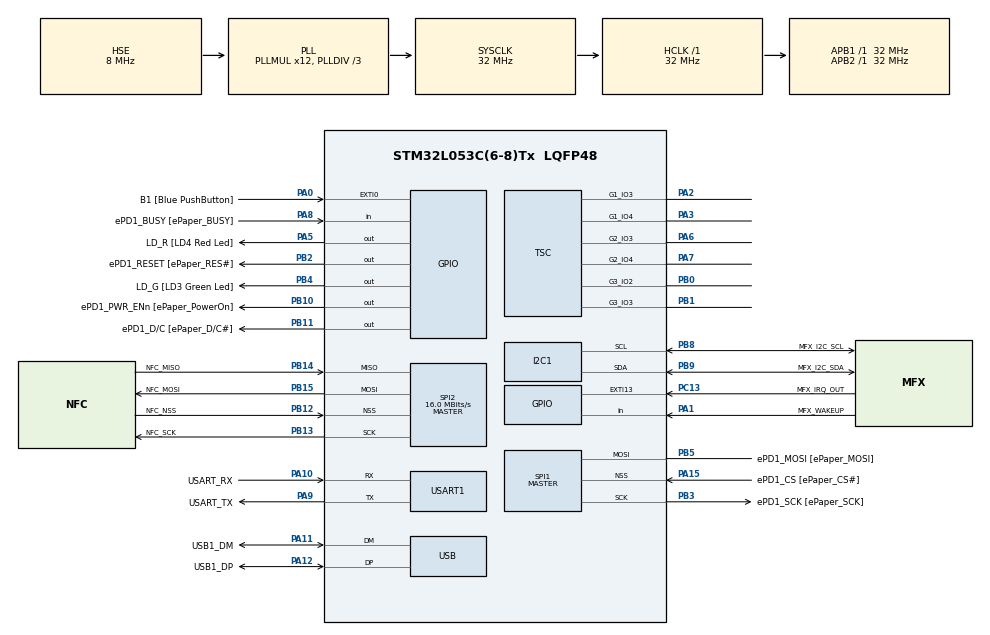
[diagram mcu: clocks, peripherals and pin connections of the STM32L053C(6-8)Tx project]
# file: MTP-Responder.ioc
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I2C1.Timing=0x00B07CB4
Mcu.Family=STM32L0
Mcu.Name=STM32L053C(6-8)Tx
Mcu.Package=LQFP48
NVIC.USB_IRQn=true\:0\:0\:false\:false\:true\:false\:true\:true
PA0.GPIO_Label=B1 [Blue PushButton]
PA0.GPIO_ModeDefaultEXTI=GPIO_MODE_EVT_RISING
PA0.GPIO_PuPd=GPIO_NOPULL
PA0.Signal=GPXTI0
PA1.GPIO_Label=MFX_WAKEUP
PA1.Signal=GPIO_Input
PA10.GPIO_Label=USART_RX
PA10.Mode=Asynchronous
PA10.Signal=USART1_RX
PA11.GPIO_Label=USB1_DM
PA11.Mode=Device
PA11.Signal=USB_DM
PA12.GPIO_Label=USB1_DP
PA12.Mode=Device
PA12.Signal=USB_DP
PA13.GPIO_Label=SWDIO
PA13.Mode=Serial_Wire
PA13.Signal=SYS_SWDIO
PA14.GPIO_Label=SWCLK
PA14.Mode=Serial_Wire
PA14.Signal=SYS_SWCLK
PA15.GPIO_Label=ePD1_CS [ePaper_CS\#]
PA15.GPIO_Mode=GPIO_MODE_AF_PP
PA15.GPIO_PuPd=GPIO_NOPULL
PA15.GPIO_Speed=GPIO_SPEED_FREQ_LOW
PA15.Mode=NSS_Signal_Hard_Input
PA15.Signal=SPI1_NSS
PA2.Mode=G1_IO3-Channel
PA2.Signal=TSC_G1_IO3
PA3.Mode=G1_IO4-Sampling
PA3.Signal=TSC_G1_IO4
PA5.GPIO_Label=LD_R [LD4 Red Led]
PA5.GPIO_ModeDefaultOutputPP=GPIO_MODE_OUTPUT_PP
PA5.GPIO_PuPd=GPIO_NOPULL
PA5.GPIO_Speed=GPIO_SPEED_FREQ_LOW
PA5.Signal=GPIO_Output
PA6.Mode=G2_IO3-Channel
PA6.Signal=TSC_G2_IO3
PA7.Mode=G2_IO4-Sampling
PA7.Signal=TSC_G2_IO4
PA8.GPIO_Label=ePD1_BUSY [ePaper_BUSY]
PA8.GPIO_Mode=GPIO_MODE_INPUT
PA8.GPIO_PuPd=GPIO_NOPULL
PA8.Signal=GPIO_Input
PA9.GPIO_Label=USART_TX
PA9.Mode=Asynchronous
PA9.Signal=USART1_TX
PB0.Mode=G3_IO2-Channel
PB0.Signal=TSC_G3_IO2
PB1.Mode=G3_IO3-Sampling
PB1.Signal=TSC_G3_IO3
PB10.GPIO_Label=ePD1_PWR_ENn [ePaper_PowerOn]
PB10.GPIO_ModeDefaultOutputPP=GPIO_MODE_OUTPUT_PP
PB10.GPIO_PuPd=GPIO_NOPULL
PB10.GPIO_Speed=GPIO_SPEED_FREQ_LOW
PB10.Signal=GPIO_Output
PB11.GPIO_Label=ePD1_D/C [ePaper_D/C\#]
PB11.GPIO_ModeDefaultOutputPP=GPIO_MODE_OUTPUT_PP
PB11.GPIO_PuPd=GPIO_NOPULL
PB11.GPIO_Speed=GPIO_SPEED_FREQ_LOW
PB11.Signal=GPIO_Output
PB12.GPIO_Label=NFC_NSS
PB12.Mode=NSS_Signal_Hard_Input
PB12.Signal=SPI2_NSS
PB13.GPIO_Label=NFC_SCK
PB13.Mode=Full_Duplex_Master
PB13.Signal=SPI2_SCK
PB14.GPIO_Label=NFC_MISO
PB14.Mode=Full_Duplex_Master
PB14.Signal=SPI2_MISO
PB15.GPIO_Label=NFC_MOSI
PB15.Mode=Full_Duplex_Master
PB15.Signal=SPI2_MOSI
PB2.GPIO_Label=ePD1_RESET [ePaper_RES\#]
PB2.GPIO_ModeDefaultOutputPP=GPIO_MODE_OUTPUT_PP
PB2.GPIO_PuPd=GPIO_NOPULL
PB2.GPIO_Speed=GPIO_SPEED_FREQ_LOW
PB2.Signal=GPIO_Output
PB3.GPIO_Label=ePD1_SCK [ePaper_SCK]
PB3.GPIO_Mode=GPIO_MODE_AF_PP
PB3.GPIO_PuPd=GPIO_NOPULL
PB3.GPIO_Speed=GPIO_SPEED_FREQ_LOW
PB3.Mode=Simplex_Bidirectional_Master
PB3.Signal=SPI1_SCK
PB4.GPIO_Label=LD_G [LD3 Green Led]
PB4.GPIO_ModeDefaultOutputPP=GPIO_MODE_OUTPUT_PP
PB4.GPIO_PuPd=GPIO_NOPULL
PB4.GPIO_Speed=GPIO_SPEED_FREQ_LOW
PB4.Signal=GPIO_Output
PB5.GPIO_Label=ePD1_MOSI [ePaper_MOSI]
PB5.GPIO_Mode=GPIO_MODE_AF_PP
PB5.GPIO_PuPd=GPIO_NOPULL
PB5.GPIO_Speed=GPIO_SPEED_FREQ_LOW
PB5.Mode=Simplex_Bidirectional_Master
PB5.Signal=SPI1_MOSI
PB8.GPIO_Label=MFX_I2C_SCL
PB8.GPIO_Pu=GPIO_PULLUP
PB8.Mode=I2C
PB8.Signal=I2C1_SCL
PB9.GPIO_Label=MFX_I2C_SDA
PB9.GPIO_Pu=GPIO_PULLUP
PB9.Mode=I2C
PB9.Signal=I2C1_SDA
PC13.GPIO_Label=MFX_IRQ_OUT
PC13.Signal=GPXTI13
PC14-OSC32_IN.GPIO_Label=PC14-OSC32_IN
PC14-OSC32_IN.Signal=RCC_OSC32_IN
PC15-OSC32_OUT.GPIO_Label=PC15-OSC32_OUT
PC15-OSC32_OUT.Signal=RCC_OSC32_OUT
PH0-OSC_IN.GPIO_Label=MCO
PH0-OSC_IN.Mode=HSE-External-Clock-Source
PH0-OSC_IN.Signal=RCC_OSC_IN
ProjectManager.HeapSize=0x200
ProjectManager.StackSize=0x400
ProjectManager.TargetToolchain=STM32CubeIDE
RCC.AHBFreq_Value=32000000
RCC.APB1Freq_Value=32000000
RCC.APB1TimFreq_Value=32000000
RCC.APB2Freq_Value=32000000
RCC.APB2TimFreq_Value=32000000
RCC.HCLKFreq_Value=32000000
RCC.HSE_VALUE=8000000
RCC.HSI16_VALUE=16000000
RCC.HSI48MClockSelection=RCC_USBCLKSOURCE_HSI48
RCC.HSI48_VALUE=48000000
RCC.HSI_VALUE=16000000
RCC.LSE_VALUE=32768
RCC.MSI_VALUE=2097000
RCC.PLLDIV=RCC_PLLDIV_3
RCC.PLLMUL=RCC_PLLMUL_12
RCC.PLLSourceVirtual=RCC_PLLSOURCE_HSE
RCC.RTCClockSelectionVirtual=RCC_RTCCLKSOURCE_LSE
RCC.SYSCLKFreq_VALUE=32000000
RCC.SYSCLKSource=RCC_SYSCLKSOURCE_PLLCLK
RCC.VCOOutputFreq_Value=96000000
SPI1.CalculateBaudRate-Simplex_Bidirectional_Master=16.0 MBits/s
SPI1.Direction=SPI_DIRECTION_1LINE
SPI1.Direction-Simplex_Bidirectional_Master=SPI_DIRECTION_1LINE
SPI1.Mode=SPI_MODE_MASTER
SPI1.Mode-Simplex_Bidirectional_Master=SPI_MODE_MASTER
SPI1.NSS-Simplex_Bidirectional_Master=SPI_NSS_HARD_OUTPUT
SPI1.TIMode-Simplex_Bidirectional_Master=SPI_TIMODE_DISABLE
SPI1.VirtualNSS=VM_NSSHARD
SPI1.VirtualType=VM_MASTER
SPI2.CalculateBaudRate=16.0 MBits/s
SPI2.Direction=SPI_DIRECTION_2LINES
SPI2.Mode=SPI_MODE_MASTER
SPI2.VirtualNSS=VM_NSSHARD
SPI2.VirtualType=VM_MASTER
USART1.VirtualMode-Asynchronous=VM_ASYNC
USB_DEVICE.CLASS_NAME_FS=CDC
USB_DEVICE.VirtualMode=Cdc
USB_DEVICE.VirtualModeFS=Cdc_FS
VP_USB_DEVICE_VS_USB_DEVICE_CDC_FS.Mode=CDC_FS
board=STM32L0538-DISCO

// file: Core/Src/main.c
/* USER CODE BEGIN Header */
/**
  ******************************************************************************
  * @file           : main.c
  * @brief          : Main program body
  ******************************************************************************
  * @attention
  *
  * Copyright (c) 2025 STMicroelectronics.
  * All rights reserved.
  *
  * This software is licensed under terms that can be found in the LICENSE file
  * in the root directory of this software component.
  * If no LICENSE file comes with this software, it is provided AS-IS.
  *
  ******************************************************************************
  */
/* USER CODE END Header */
#include "main.h"
#include "usb_device.h"
#include "stm32l053xx.h"
#include "mtp_constants.h"
#include "usbd_mtp_if.h"

I2C_HandleTypeDef hi2c1;

SPI_HandleTypeDef hspi1;
SPI_HandleTypeDef hspi2;

TSC_HandleTypeDef htsc;

UART_HandleTypeDef huart1;

void SystemClock_Config(void);
static void MX_GPIO_Init(void);
static void MX_I2C1_Init(void);
static void MX_SPI1_Init(void);
static void MX_SPI2_Init(void);
static void MX_TSC_Init(void);
static void MX_USART1_UART_Init(void);

int main(void)
{

  /* MCU Configuration--------------------------------------------------------*/

  /* Reset of all peripherals, Initializes the Flash interface and the Systick. */
  HAL_Init();

  /* Configure the system clock */
  SystemClock_Config();

  /* Initialize all configured peripherals */
  MX_GPIO_Init();
  MX_I2C1_Init();
  MX_SPI1_Init();
  MX_SPI2_Init();
  MX_TSC_Init();
  MX_USART1_UART_Init();
  MX_USB_DEVICE_Init();
  /* USER CODE BEGIN 2 */

  char readyMessage[] = "STM32 COM USB ready\r\n";
  char message[] = "Hello from STM32\r\n";
  char str[] = "azertyuiop\r\n\r\n\r\n\r\n\r\n\r\n\r\n\r\n\r\n\r\n\r\n\r\n\r\n\r\n\r\n\r\n\r\n\r\n";
  HAL_UART_Transmit(&huart1, (uint8_t *)str, strlen(str), HAL_MAX_DELAY);

  DeviceInfo board;
  collectDeviceInfo(&board);

  /* USER CODE END 2 */

  /* Infinite loop */
  /* USER CODE BEGIN WHILE */
  while (1)
  {

	  //HAL_StatusTypeDef ret = HAL_UART_Transmit(&huart1, (uint8_t*)"test\r\n", 6, HAL_MAX_DELAY);//HAL_UART_Transmit(&huart1, (uint8_t *)str, strlen(str), HAL_MAX_DELAY);
	  //if (ret == HAL_OK) {HAL_GPIO_TogglePin(LD_G_GPIO_Port, LD_G_Pin);}
	  for (int var = 0; var < 500000; ++var) {}

  }

}

void SystemClock_Config(void)
{
  RCC_OscInitTypeDef RCC_OscInitStruct = {0};
  RCC_ClkInitTypeDef RCC_ClkInitStruct = {0};
  RCC_PeriphCLKInitTypeDef PeriphClkInit = {0};

  /** Configure the main internal regulator output voltage
  */
  __HAL_PWR_VOLTAGESCALING_CONFIG(PWR_REGULATOR_VOLTAGE_SCALE1);

  /** Initializes the RCC Oscillators according to the specified parameters
  * in the RCC_OscInitTypeDef structure.
  */
  RCC_OscInitStruct.OscillatorType = RCC_OSCILLATORTYPE_HSE|RCC_OSCILLATORTYPE_HSI48;
  RCC_OscInitStruct.HSEState = RCC_HSE_BYPASS;
  RCC_OscInitStruct.HSI48State = RCC_HSI48_ON;
  RCC_OscInitStruct.PLL.PLLState = RCC_PLL_ON;
  RCC_OscInitStruct.PLL.PLLSource = RCC_PLLSOURCE_HSE;
  RCC_OscInitStruct.PLL.PLLMUL = RCC_PLLMUL_12;
  RCC_OscInitStruct.PLL.PLLDIV = RCC_PLLDIV_3;
  if (HAL_RCC_OscConfig(&RCC_OscInitStruct) != HAL_OK)
  {
    Error_Handler();
  }

  /** Initializes the CPU, AHB and APB buses clocks
  */
  RCC_ClkInitStruct.ClockType = RCC_CLOCKTYPE_HCLK|RCC_CLOCKTYPE_SYSCLK
                              |RCC_CLOCKTYPE_PCLK1|RCC_CLOCKTYPE_PCLK2;
  RCC_ClkInitStruct.SYSCLKSource = RCC_SYSCLKSOURCE_PLLCLK;
  RCC_ClkInitStruct.AHBCLKDivider = RCC_SYSCLK_DIV1;
  RCC_ClkInitStruct.APB1CLKDivider = RCC_HCLK_DIV1;
  RCC_ClkInitStruct.APB2CLKDivider = RCC_HCLK_DIV1;

  if (HAL_RCC_ClockConfig(&RCC_ClkInitStruct, FLASH_LATENCY_1) != HAL_OK)
  {
    Error_Handler();
  }
  PeriphClkInit.PeriphClockSelection = RCC_PERIPHCLK_USART1|RCC_PERIPHCLK_I2C1
                              |RCC_PERIPHCLK_USB;
  PeriphClkInit.Usart1ClockSelection = RCC_USART1CLKSOURCE_PCLK2;
  PeriphClkInit.I2c1ClockSelection = RCC_I2C1CLKSOURCE_PCLK1;
  PeriphClkInit.UsbClockSelection = RCC_USBCLKSOURCE_HSI48;
  if (HAL_RCCEx_PeriphCLKConfig(&PeriphClkInit) != HAL_OK)
  {
    Error_Handler();
  }
}

static void MX_I2C1_Init(void)
{

  hi2c1.Instance = I2C1;
  hi2c1.Init.Timing = 0x00B07CB4;
  hi2c1.Init.OwnAddress1 = 0;
  hi2c1.Init.AddressingMode = I2C_ADDRESSINGMODE_7BIT;
  hi2c1.Init.DualAddressMode = I2C_DUALADDRESS_DISABLE;
  hi2c1.Init.OwnAddress2 = 0;
  hi2c1.Init.OwnAddress2Masks = I2C_OA2_NOMASK;
  hi2c1.Init.GeneralCallMode = I2C_GENERALCALL_DISABLE;
  hi2c1.Init.NoStretchMode = I2C_NOSTRETCH_DISABLE;
  if (HAL_I2C_Init(&hi2c1) != HAL_OK)
  {
    Error_Handler();
  }

  /** Configure Analogue filter
  */
  if (HAL_I2CEx_ConfigAnalogFilter(&hi2c1, I2C_ANALOGFILTER_ENABLE) != HAL_OK)
  {
    Error_Handler();
  }

  /** Configure Digital filter
  */
  if (HAL_I2CEx_ConfigDigitalFilter(&hi2c1, 0) != HAL_OK)
  {
    Error_Handler();
  }

}

static void MX_SPI1_Init(void)
{

  /* SPI1 parameter configuration*/
  hspi1.Instance = SPI1;
  hspi1.Init.Mode = SPI_MODE_MASTER;
  hspi1.Init.Direction = SPI_DIRECTION_1LINE;
  hspi1.Init.DataSize = SPI_DATASIZE_8BIT;
  hspi1.Init.CLKPolarity = SPI_POLARITY_LOW;
  hspi1.Init.CLKPhase = SPI_PHASE_1EDGE;
  hspi1.Init.NSS = SPI_NSS_HARD_INPUT;
  hspi1.Init.BaudRatePrescaler = SPI_BAUDRATEPRESCALER_2;
  hspi1.Init.FirstBit = SPI_FIRSTBIT_MSB;
  hspi1.Init.TIMode = SPI_TIMODE_DISABLE;
  hspi1.Init.CRCCalculation = SPI_CRCCALCULATION_DISABLE;
  hspi1.Init.CRCPolynomial = 7;
  if (HAL_SPI_Init(&hspi1) != HAL_OK)
  {
    Error_Handler();
  }

}

static void MX_SPI2_Init(void)
{

  /* SPI2 parameter configuration*/
  hspi2.Instance = SPI2;
  hspi2.Init.Mode = SPI_MODE_MASTER;
  hspi2.Init.Direction = SPI_DIRECTION_2LINES;
  hspi2.Init.DataSize = SPI_DATASIZE_8BIT;
  hspi2.Init.CLKPolarity = SPI_POLARITY_LOW;
  hspi2.Init.CLKPhase = SPI_PHASE_1EDGE;
  hspi2.Init.NSS = SPI_NSS_HARD_INPUT;
  hspi2.Init.BaudRatePrescaler = SPI_BAUDRATEPRESCALER_2;
  hspi2.Init.FirstBit = SPI_FIRSTBIT_MSB;
  hspi2.Init.TIMode = SPI_TIMODE_DISABLE;
  hspi2.Init.CRCCalculation = SPI_CRCCALCULATION_DISABLE;
  hspi2.Init.CRCPolynomial = 7;
  if (HAL_SPI_Init(&hspi2) != HAL_OK)
  {
    Error_Handler();
  }

}

static void MX_TSC_Init(void)
{

  /** Configure the TSC peripheral
  */
  htsc.Instance = TSC;
  htsc.Init.CTPulseHighLength = TSC_CTPH_2CYCLES;
  htsc.Init.CTPulseLowLength = TSC_CTPL_2CYCLES;
  htsc.Init.SpreadSpectrum = DISABLE;
  htsc.Init.SpreadSpectrumDeviation = 1;
  htsc.Init.SpreadSpectrumPrescaler = TSC_SS_PRESC_DIV1;
  htsc.Init.PulseGeneratorPrescaler = TSC_PG_PRESC_DIV4;
  htsc.Init.MaxCountValue = TSC_MCV_8191;
  htsc.Init.IODefaultMode = TSC_IODEF_OUT_PP_LOW;
  htsc.Init.SynchroPinPolarity = TSC_SYNC_POLARITY_FALLING;
  htsc.Init.AcquisitionMode = TSC_ACQ_MODE_NORMAL;
  htsc.Init.MaxCountInterrupt = DISABLE;
  htsc.Init.ChannelIOs = TSC_GROUP1_IO3|TSC_GROUP2_IO3|TSC_GROUP3_IO2;
  htsc.Init.ShieldIOs = 0;
  htsc.Init.SamplingIOs = TSC_GROUP1_IO4|TSC_GROUP2_IO4|TSC_GROUP3_IO3;
  if (HAL_TSC_Init(&htsc) != HAL_OK)
  {
    Error_Handler();
  }

}

static void MX_USART1_UART_Init(void)
{

  huart1.Instance = USART1;
  huart1.Init.BaudRate = 115200;
  huart1.Init.WordLength = UART_WORDLENGTH_8B;
  huart1.Init.StopBits = UART_STOPBITS_1;
  huart1.Init.Parity = UART_PARITY_NONE;
  huart1.Init.Mode = UART_MODE_TX_RX;
  huart1.Init.HwFlowCtl = UART_HWCONTROL_NONE;
  huart1.Init.OverSampling = UART_OVERSAMPLING_16;
  huart1.Init.OneBitSampling = UART_ONE_BIT_SAMPLE_DISABLE;
  huart1.AdvancedInit.AdvFeatureInit = UART_ADVFEATURE_NO_INIT;
  if (HAL_UART_Init(&huart1) != HAL_OK)
  {
    Error_Handler();
  }

}

static void MX_GPIO_Init(void)
{
  GPIO_InitTypeDef GPIO_InitStruct = {0};

  /* GPIO Ports Clock Enable */
  __HAL_RCC_GPIOC_CLK_ENABLE();
  __HAL_RCC_GPIOH_CLK_ENABLE();
  __HAL_RCC_GPIOA_CLK_ENABLE();
  __HAL_RCC_GPIOB_CLK_ENABLE();

  /*Configure GPIO pin Output Level */
  HAL_GPIO_WritePin(LD_R_GPIO_Port, LD_R_Pin, GPIO_PIN_RESET);

  /*Configure GPIO pin Output Level */
  HAL_GPIO_WritePin(GPIOB, ePD1_RESET_Pin|ePD1_PWR_ENn_Pin|ePD1_D_C_Pin|LD_G_Pin, GPIO_PIN_RESET);

  /*Configure GPIO pin : MFX_IRQ_OUT_Pin */
  GPIO_InitStruct.Pin = MFX_IRQ_OUT_Pin;
  GPIO_InitStruct.Mode = GPIO_MODE_IT_RISING;
  GPIO_InitStruct.Pull = GPIO_NOPULL;
  HAL_GPIO_Init(MFX_IRQ_OUT_GPIO_Port, &GPIO_InitStruct);

  /*Configure GPIO pin : B1_Pin */
  GPIO_InitStruct.Pin = B1_Pin;
  GPIO_InitStruct.Mode = GPIO_MODE_EVT_RISING;
  GPIO_InitStruct.Pull = GPIO_NOPULL;
  HAL_GPIO_Init(B1_GPIO_Port, &GPIO_InitStruct);

  /*Configure GPIO pins : MFX_WAKEUP_Pin ePD1_BUSY_Pin */
  GPIO_InitStruct.Pin = MFX_WAKEUP_Pin|ePD1_BUSY_Pin;
  GPIO_InitStruct.Mode = GPIO_MODE_INPUT;
  GPIO_InitStruct.Pull = GPIO_NOPULL;
  HAL_GPIO_Init(GPIOA, &GPIO_InitStruct);

  /*Configure GPIO pin : LD_R_Pin */
  GPIO_InitStruct.Pin = LD_R_Pin;
  GPIO_InitStruct.Mode = GPIO_MODE_OUTPUT_PP;
  GPIO_InitStruct.Pull = GPIO_NOPULL;
  GPIO_InitStruct.Speed = GPIO_SPEED_FREQ_LOW;
  HAL_GPIO_Init(LD_R_GPIO_Port, &GPIO_InitStruct);

  /*Configure GPIO pins : ePD1_RESET_Pin ePD1_PWR_ENn_Pin ePD1_D_C_Pin LD_G_Pin */
  GPIO_InitStruct.Pin = ePD1_RESET_Pin|ePD1_PWR_ENn_Pin|ePD1_D_C_Pin|LD_G_Pin;
  GPIO_InitStruct.Mode = GPIO_MODE_OUTPUT_PP;
  GPIO_InitStruct.Pull = GPIO_NOPULL;
  GPIO_InitStruct.Speed = GPIO_SPEED_FREQ_LOW;
  HAL_GPIO_Init(GPIOB, &GPIO_InitStruct);

}

/* USER CODE BEGIN 4 */

int __io_putchar(int ch)
{
	uint8_t temp = (uint8_t)ch;
	HAL_UART_Transmit(&huart1, &temp, sizeof(char), HAL_MAX_DELAY);
	return ch;
}

/*
 * TODO pas utiliser des variables globales static
 */

int collectDeviceInfo(DeviceInfo* info){
	info->StandardVersion = 100;
	info->MTPVendorExtensionID = 0;
	info->MTPVersion = 100;
	char extensions[] = "";info->MTPExtensions = extensions;
	info->FunctionalMode = 0;
	uint16_t operations[] = {MTP_OPERATION_GET_DEVICE_INFO, 0x0000U};info->OperationsSupported = operations;
	uint16_t events[] = {0x0000U};info->EventsSupported = events;
	uint16_t properties[] = {0x0000U};info->DevicePropertiesSupported = properties;
	uint16_t captureFormats[] = {0x0000U};info->CaptureFormats = captureFormats;
	uint16_t playbackFormats[] = {0x0000U};info->PlaybackFormats = playbackFormats;
	info->Manufacturer = "STmicroelectronics";
	//12 chars = enough for any 32bit int
	static char halversionstr[12];snprintf(halversionstr, sizeof(halversionstr), "%lu", HAL_GetHalVersion());info->Model = halversionstr;
	info->DeviceVersion = "1.0";
	uint32_t uid[3] = {HAL_GetUIDw0(), HAL_GetUIDw1(), HAL_GetUIDw2()}; static char serial[33];
	snprintf(serial, sizeof(serial), "%08lX%08lX%08lX", uid[0], uid[1], uid[2]);info->SerialNumber = serial; //
	return 0;

}

/* USER CODE END 4 */

void Error_Handler(void)
{
  /* USER CODE BEGIN Error_Handler_Debug */
  /* User can add his own implementation to report the HAL error return state */
  __disable_irq();
  HAL_GPIO_TogglePin(LD_R_GPIO_Port, LD_R_Pin);
  while (1)
  {
  }
  /* USER CODE END Error_Handler_Debug */
}
